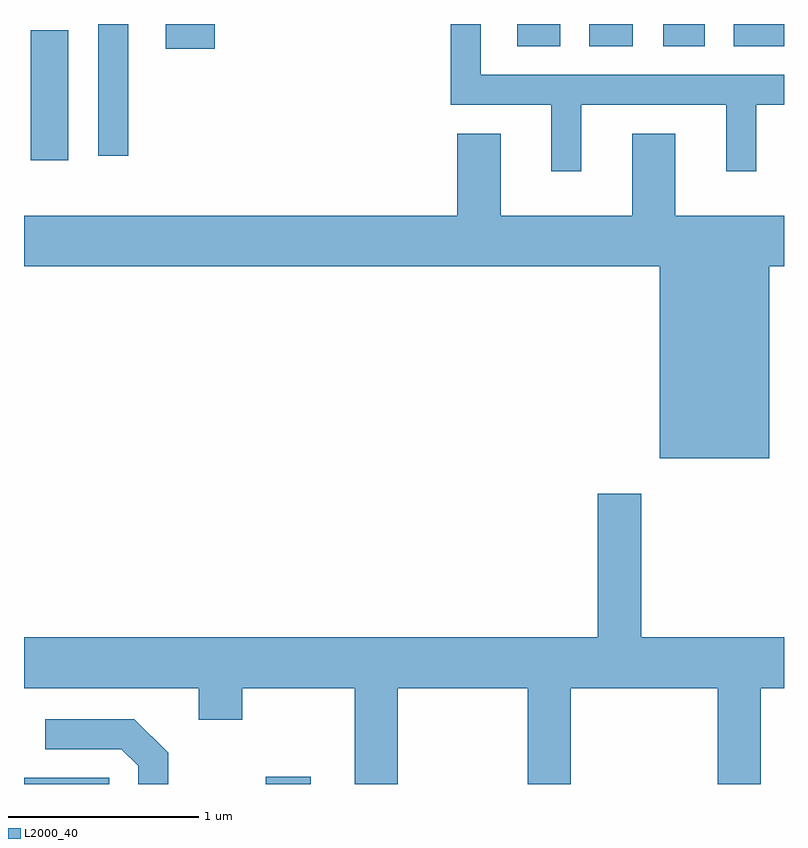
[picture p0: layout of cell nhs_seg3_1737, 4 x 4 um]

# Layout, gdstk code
import gdstk
lib = gdstk.Library(unit=1e-6, precision=1e-09)
def R(c, l, rs):  # rectangles x0, y0, x1, y1
    for r in rs: c.add(gdstk.rectangle(r[:2], r[2:], *l))
def P(c, l, *ps):  # polygons
    for p in ps: c.add(gdstk.Polygon(p, *l))
L2000_40 = (2000, 40)

nhs_seg3_1737 = lib.new_cell('nhs_seg3_1737')
R(nhs_seg3_1737, L2000_40, [(235.611,1189.892,236.059,1189.924), (236.883,1189.892,237.119,1189.929), (235.646,1193.176,235.844,1193.859), (236.001,1193.198,236.159,1193.892), (236.356,1193.761,236.614,1193.892), (238.206,1193.776,238.434,1193.892), (238.586,1193.776,238.814,1193.892), (238.976,1193.776,239.194,1193.892), (239.346,1193.776,239.611,1193.892)])
P(nhs_seg3_1737, L2000_40, [(238.544,1193.466),(239.306,1193.466),(239.306,1193.118),(239.464,1193.118),(239.464,1193.466),(239.611,1193.466),(239.611,1193.624),(238.014,1193.624),(238.014,1193.892),(237.856,1193.892),(237.856,1193.466),(238.386,1193.466),(238.386,1193.118),(238.544,1193.118)],
  [(239.534,1192.616),(239.611,1192.616),(239.611,1192.884),(239.039,1192.884),(239.039,1193.314),(238.811,1193.314),(238.811,1192.884),(238.119,1192.884),(238.119,1193.314),(237.891,1193.314),(237.891,1192.884),(235.611,1192.884),(235.611,1192.616),(238.956,1192.616),(238.956,1191.606),(239.534,1191.606)],
  [(237.579,1190.396),(238.261,1190.396),(238.261,1189.892),(238.489,1189.892),(238.489,1190.396),(239.261,1190.396),(239.261,1189.892),(239.489,1189.892),(239.489,1190.396),(239.611,1190.396),(239.611,1190.664),(238.859,1190.664),(238.859,1191.419),(238.631,1191.419),(238.631,1190.664),(235.611,1190.664),(235.611,1190.396),(236.531,1190.396),(236.531,1190.231),(236.759,1190.231),(236.759,1190.396),(237.351,1190.396),(237.351,1189.892),(237.579,1189.892)],
  [(236.369,1190.057),(236.192,1190.234),(235.723,1190.234),(235.723,1190.076),(236.124,1190.076),(236.211,1189.989),(236.211,1189.892),(236.369,1189.892)])

lib.write_gds('nhs_seg3_1737.gds')
